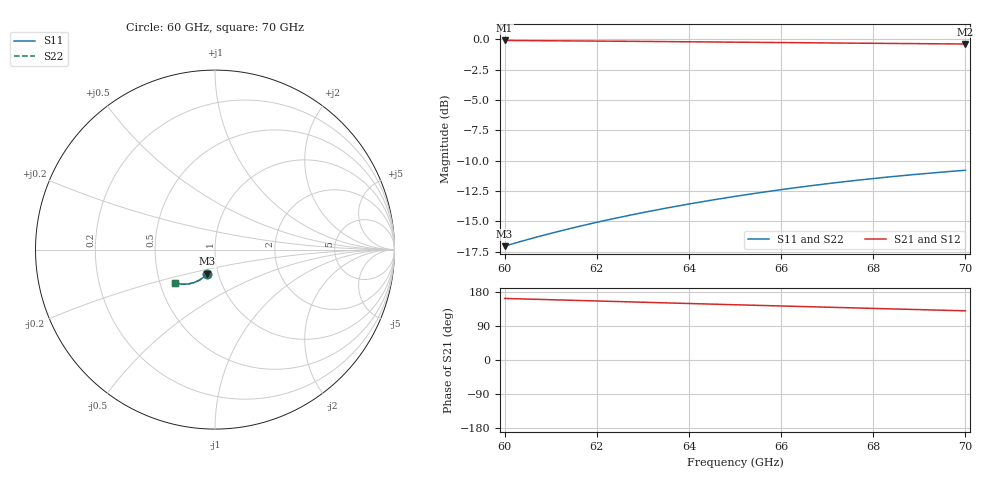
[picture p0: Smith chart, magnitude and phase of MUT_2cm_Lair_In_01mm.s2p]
! TOUCHSTONE file generated by CST MICROWAVE STUDIO
! Date and time: Fri Mar  8 11:09:29 2024
! Project name: material_angular.cst
! Parameters = {d=9.05; Yi=5; iiii=5; exis2=5; exis=5; X=5; Z=5; Y=2}
! Header version: 2018
! Port assignment regex: !\s*Touchstone port\s*([0-9]+)\s*=\s*(CST MWS port|CST DS port)\s*([0-9]+|Zmin|Zmax)\s*\(\"(.*)\"\)(\s*mode\s*([0-9]+))?.*
! Touchstone port assignment:
! Touchstone port 1 = CST MWS port 1 ("")
! Touchstone port 2 = CST MWS port 2 ("")
# GHz S MA R 376.7
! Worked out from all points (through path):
!   1001 points, 60 GHz to 70 GHz, reference 376.7 ohm
!   highest |S21| = -0.09 dB at 60 GHz (marker M1); lowest = -0.4 dB at 70 GHz (marker M2)
!   group delay of S21, straight-line fit = 9.07 ps
!   lowest |S11| = -17.0 dB at 60 GHz (marker M3), VSWR 1.33, Z = 334 - j91.4 ohm
!   |S11| at or under -10 dB: start of sweep to end of sweep
!   |S22| runs from -17.0 to -10.8 dB; largest |S21 - S12| = 0.00033
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60  0.1406 -107.6  0.99 162.5  0.9899 162.5  0.1406 -107.5
60.05  0.1415 -107.8  0.9899 162.3  0.9898 162.3  0.1415 -107.6
60.45  0.1488 -109.1  0.9889 160.9  0.9888 160.9  0.1488 -108.9
60.87  0.1564 -110.6  0.9877 159.5  0.9878 159.5  0.1564 -110.3
61.26  0.1634 -111.9  0.9866 158.2  0.9867 158.2  0.1634 -111.6
61.67  0.1706 -113.3  0.9854 156.8  0.9856 156.8  0.1707 -113.0
62.08  0.1777 -114.6  0.9841 155.4  0.9843 155.4  0.1779 -114.3
62.49  0.1847 -116.0  0.9828 154.1  0.9831 154.1  0.1851 -115.7
62.91  0.1918 -117.4  0.9814 152.7  0.9817 152.7  0.1922 -117.2
63.34  0.199 -118.8  0.98 151.2  0.9803 151.2  0.1994 -118.6
63.74  0.2055 -120.1  0.9786 149.9  0.979 149.9  0.2059 -120.0
64.15  0.2121 -121.5  0.9772 148.6  0.9775 148.6  0.2124 -121.4
64.57  0.2188 -122.9  0.9758 147.2  0.9761 147.2  0.2189 -122.8
65  0.2255 -124.3  0.9742 145.8  0.9745 145.8  0.2255 -124.2
65.41  0.2317 -125.6  0.9728 144.4  0.973 144.4  0.2315 -125.5
65.83  0.2379 -127.0  0.9713 143.1  0.9715 143.1  0.2376 -126.9
66.67  0.2498 -129.7  0.9683 140.4  0.9684 140.4  0.2496 -129.5
67.53  0.2612 -132.5  0.9653 137.6  0.9653 137.6  0.2612 -132.3
68.34  0.2712 -135.1  0.9626 135.0  0.9625 135.0  0.2714 -134.9
69.19  0.2807 -137.7  0.9599 132.4  0.9597 132.3  0.2809 -137.7
69.95  0.2884 -140.1  0.9575 129.9  0.9575 129.9  0.2885 -140.1
70  0.2889 -140.2  0.9573 129.8  0.9574 129.8  0.289 -140.2
